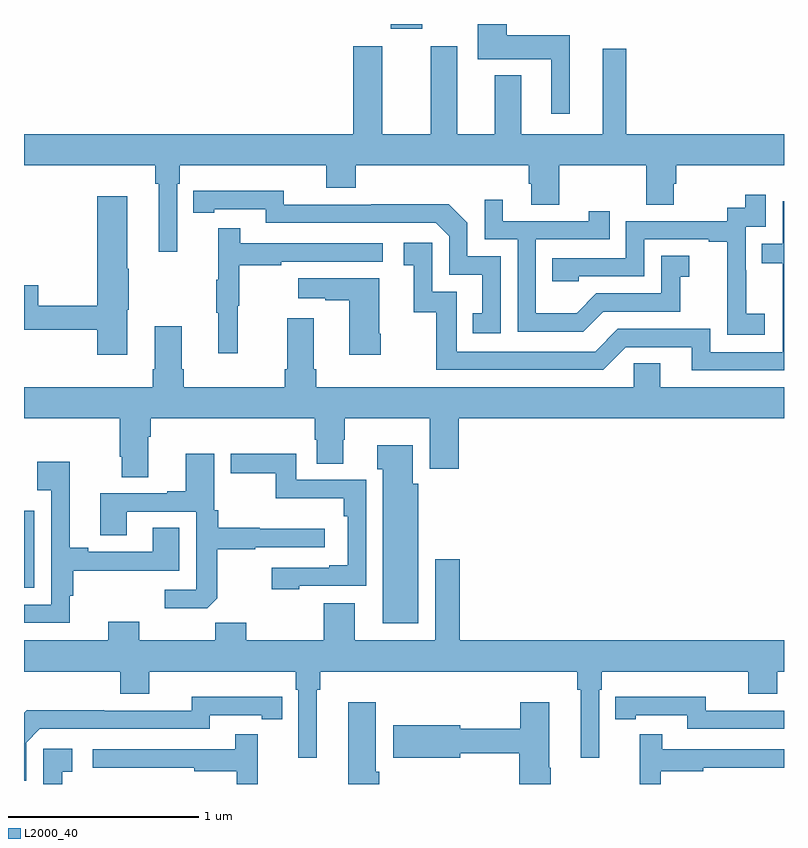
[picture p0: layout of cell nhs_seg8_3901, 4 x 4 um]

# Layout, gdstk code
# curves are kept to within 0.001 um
import gdstk
lib = gdstk.Library(unit=1e-6, precision=1e-09)
def R(c, l, rs):  # rectangles x0, y0, x1, y1
    for r in rs: c.add(gdstk.rectangle(r[:2], r[2:], *l))
def P(c, l, *ps):  # polygons
    for p in ps: c.add(gdstk.Polygon(p, *l))
L2000_40 = (2000, 40)

nhs_seg8_3901 = lib.new_cell('nhs_seg8_3901')
R(nhs_seg8_3901, L2000_40, [(351,1124.934,351.054,1125.337), (352.931,1127.874,353.095,1127.9)])
P(nhs_seg8_3901, L2000_40, [(353.872,1127.842),(353.542,1127.842),(353.542,1127.9),(353.389,1127.9),(353.389,1127.714),(353.774,1127.714),(353.774,1127.427),(353.872,1127.427)],
  [(351.807,1127.06),(351.821,1127.06),(351.821,1127.156),(352.592,1127.156),(352.592,1127.039),(352.745,1127.039),(352.745,1127.156),(353.657,1127.156),(353.657,1127.058),(353.669,1127.058),(353.669,1126.948),(353.817,1126.948),(353.817,1127.156),(354.274,1127.156),(354.274,1126.948),(354.421,1126.948),(354.421,1127.058),(354.434,1127.058),(354.434,1127.156),(355,1127.156),(355,1127.32),(354.169,1127.32),(354.169,1127.77),(354.047,1127.77),(354.047,1127.32),(353.617,1127.32),(353.617,1127.629),(353.477,1127.629),(353.477,1127.32),(353.281,1127.32),(353.281,1127.782),(353.141,1127.782),(353.141,1127.32),(352.885,1127.32),(352.885,1127.782),(352.733,1127.782),(352.733,1127.32),(351,1127.32),(351,1127.156),(351.691,1127.156),(351.691,1127.06),(351.71,1127.06),(351.71,1126.701),(351.807,1126.701)],
  [(353.508,1126.677),(353.334,1126.677),(353.334,1126.854),(353.236,1126.952),(352.828,1126.952),(352.828,1126.95),(352.368,1126.95),(352.368,1127.023),(351.892,1127.022),(351.892,1126.906),(352,1126.906),(352,1126.926),(352.272,1126.926),(352.272,1126.854),(353.166,1126.854),(353.238,1126.782),(353.238,1126.581),(353.411,1126.581),(353.411,1126.377),(353.362,1126.377),(353.362,1126.272),(353.508,1126.272)],
  [(354.898,1126.375),(354.8,1126.375),(354.8,1126.604),(354.798,1126.604),(354.798,1126.833),(354.903,1126.833),(354.903,1127.002),(354.795,1127.002),(354.795,1126.932),(354.702,1126.932),(354.702,1126.863),(354.168,1126.863),(354.168,1126.668),(353.779,1126.668),(353.779,1126.545),(353.919,1126.545),(353.919,1126.572),(354.264,1126.572),(354.264,1126.767),(354.605,1126.767),(354.605,1126.755),(354.701,1126.755),(354.701,1126.471),(354.7,1126.471),(354.7,1126.265),(354.898,1126.265)],
  [(351.544,1126.395),(351.552,1126.395),(351.552,1126.613),(351.544,1126.613),(351.544,1126.993),(351.386,1126.993),(351.386,1126.418),(351.076,1126.418),(351.076,1126.526),(351,1126.526),(351,1126.29),(351.386,1126.29),(351.386,1126.158),(351.544,1126.158)],
  [(354.049,1126.386),(354.453,1126.386),(354.453,1126.571),(354.502,1126.571),(354.502,1126.681),(354.354,1126.681),(354.354,1126.482),(354.012,1126.482),(353.908,1126.378),(353.694,1126.378),(353.694,1126.767),(354.083,1126.767),(354.083,1126.915),(353.972,1126.915),(353.972,1126.863),(353.521,1126.863),(353.521,1126.975),(353.424,1126.975),(353.424,1126.767),(353.598,1126.767),(353.598,1126.281),(353.944,1126.281)],
  [(355,1126.968),(354.993,1126.968),(354.993,1126.743),(354.883,1126.743),(354.883,1126.642),(354.993,1126.642),(354.993,1126.173),(354.612,1126.173),(354.612,1126.296),(354.126,1126.296),(354.006,1126.176),(353.277,1126.176),(353.277,1126.491),(353.148,1126.491),(353.148,1126.75),(352.998,1126.75),(352.998,1126.629),(353.051,1126.629),(353.051,1126.383),(353.169,1126.383),(353.169,1126.08),(354.048,1126.08),(354.168,1126.2),(354.515,1126.2),(354.515,1126.077),(355,1126.077)],
  [(352.124,1126.416),(352.132,1126.416),(352.132,1126.63),(352.355,1126.63),(352.355,1126.65),(352.888,1126.65),(352.888,1126.746),(352.139,1126.746),(352.139,1126.825),(352.022,1126.825),(352.022,1126.553),(352.011,1126.553),(352.011,1126.379),(352.022,1126.379),(352.022,1126.167),(352.124,1126.167)],
  [(352.878,1126.27),(352.87,1126.27),(352.87,1126.561),(352.443,1126.561),(352.443,1126.457),(352.586,1126.457),(352.586,1126.447),(352.712,1126.447),(352.712,1126.158),(352.878,1126.158)],
  [(351.689,1126.309),(351.689,1126.084),(351.677,1126.084),(351.677,1125.988),(351,1125.988),(351,1125.824),(351.503,1125.824),(351.503,1125.622),(351.515,1125.622),(351.515,1125.514),(351.655,1125.514),(351.655,1125.728),(351.668,1125.728),(351.668,1125.824),(352.529,1125.824),(352.529,1125.711),(352.541,1125.711),(352.541,1125.586),(352.681,1125.586),(352.681,1125.711),(352.689,1125.711),(352.689,1125.824),(353.135,1125.824),(353.135,1125.558),(353.288,1125.558),(353.288,1125.824),(355,1125.824),(355,1125.988),(354.349,1125.988),(354.349,1126.115),(354.21,1126.115),(354.21,1125.988),(352.538,1125.988),(352.538,1126.084),(352.525,1126.084),(352.525,1126.351),(352.385,1126.351),(352.385,1126.084),(352.373,1126.084),(352.373,1125.988),(351.842,1125.988),(351.842,1126.084),(351.829,1126.084),(351.829,1126.309)],
  [(353.074,1125.48),(353.047,1125.48),(353.047,1125.682),(352.859,1125.682),(352.859,1125.557),(352.889,1125.557),(352.889,1124.747),(353.074,1124.747)],
  [(352.449,1124.943),(352.8,1124.943),(352.8,1125.501),(352.434,1125.501),(352.434,1125.638),(352.089,1125.638),(352.089,1125.535),(352.326,1125.535),(352.326,1125.404),(352.684,1125.404),(352.684,1125.308),(352.704,1125.308),(352.704,1125.052),(352.607,1125.052),(352.607,1125.039),(352.305,1125.039),(352.305,1124.924),(352.449,1124.924)],
  [(352.017,1124.877),(352.017,1125.135),(352.217,1125.135),(352.217,1125.147),(352.582,1125.147),(352.582,1125.244),(352.241,1125.244),(352.241,1125.248),(352.022,1125.248),(352.022,1125.34),(352.002,1125.34),(352.002,1125.637),(351.851,1125.637),(351.851,1125.442),(351.755,1125.442),(351.755,1125.429),(351.401,1125.429),(351.401,1125.208),(351.541,1125.208),(351.541,1125.333),(351.906,1125.333),(351.906,1124.922),(351.741,1124.922),(351.741,1124.826),(351.965,1124.826)],
  [(351.242,1124.891),(351.26,1124.891),(351.26,1125.022),(351.817,1125.022),(351.817,1125.248),(351.677,1125.248),(351.677,1125.123),(351.337,1125.123),(351.337,1125.143),(351.241,1125.143),(351.241,1125.595),(351.069,1125.595),(351.069,1125.446),(351.144,1125.446),(351.144,1124.844),(351,1124.844),(351,1124.748),(351.242,1124.748)],
  [(353.294,1125.082),(353.165,1125.082),(353.165,1124.656),(352.741,1124.656),(352.741,1124.851),(352.577,1124.851),(352.577,1124.656),(352.171,1124.656),(352.171,1124.749),(352.007,1124.749),(352.007,1124.656),(351.607,1124.656),(351.607,1124.755),(351.443,1124.755),(351.443,1124.656),(351,1124.656),(351,1124.492),(351.506,1124.492),(351.506,1124.375),(351.658,1124.375),(351.658,1124.492),(352.43,1124.492),(352.43,1124.396),(352.443,1124.396),(352.443,1124.037),(352.54,1124.037),(352.54,1124.396),(352.559,1124.396),(352.559,1124.492),(353.911,1124.492),(353.911,1124.396),(353.93,1124.396),(353.93,1124.037),(354.027,1124.037),(354.027,1124.396),(354.041,1124.396),(354.041,1124.492),(354.812,1124.492),(354.812,1124.375),(354.965,1124.375),(354.965,1124.492),(355,1124.492),(355,1124.656),(353.294,1124.656)],
  [(351.012,1124.118),(351.084,1124.19),(351.978,1124.19),(351.978,1124.262),(352.25,1124.262),(352.25,1124.242),(352.358,1124.242),(352.358,1124.358),(351.882,1124.359),(351.882,1124.286),(351.422,1124.286),(351.422,1124.288),(351.014,1124.288),(351,1124.274),(351,1123.917),(351.012,1123.917)],
  [(355,1124.286),(354.588,1124.286),(354.588,1124.359),(354.22,1124.359),(354.22,1124.358),(354.112,1124.358),(354.112,1124.242),(354.22,1124.242),(354.22,1124.262),(354.492,1124.262),(354.492,1124.19),(355,1124.19)],
  [(353.772,1123.985),(353.764,1123.985),(353.764,1124.329),(353.611,1124.329),(353.611,1124.191),(353.296,1124.191),(353.296,1124.209),(352.944,1124.209),(352.944,1124.039),(353.296,1124.039),(353.296,1124.062),(353.606,1124.062),(353.606,1123.9),(353.772,1123.9)],
  [(352.87,1123.965),(352.852,1123.965),(352.852,1124.329),(352.706,1124.329),(352.706,1123.9),(352.87,1123.9)],
  [(354.352,1123.966),(354.575,1123.966),(354.575,1123.986),(355,1123.986),(355,1124.082),(354.359,1124.082),(354.359,1124.161),(354.242,1124.161),(354.242,1123.9),(354.352,1123.9)],
  [(352.229,1124.161),(352.111,1124.161),(352.111,1124.082),(351.363,1124.082),(351.363,1123.986),(351.895,1123.986),(351.895,1123.966),(352.119,1123.966),(352.119,1123.9),(352.229,1123.9)],
  [(351.2,1123.965),(351.253,1123.965),(351.253,1124.086),(351.102,1124.086),(351.102,1123.9),(351.2,1123.9)])

lib.write_gds('nhs_seg8_3901.gds')
